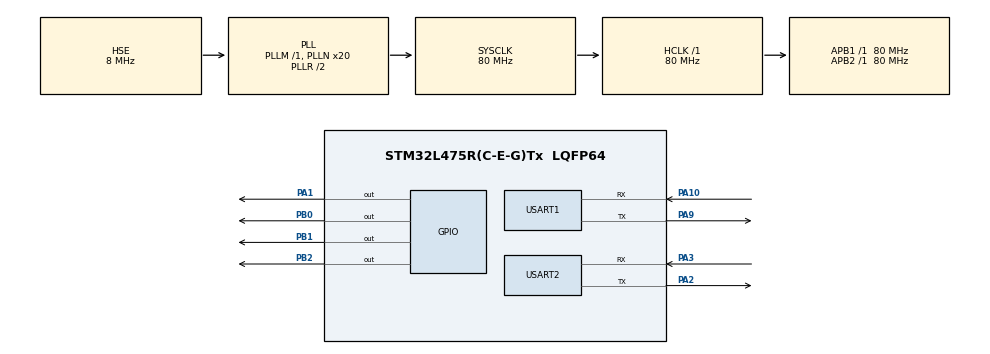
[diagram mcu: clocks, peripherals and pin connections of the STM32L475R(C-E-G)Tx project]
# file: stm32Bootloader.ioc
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Dma.Request0=USART2_RX
Dma.USART2_RX.0.Direction=DMA_PERIPH_TO_MEMORY
Dma.USART2_RX.0.Instance=DMA1_Channel6
Dma.USART2_RX.0.MemDataAlignment=DMA_MDATAALIGN_BYTE
Dma.USART2_RX.0.MemInc=DMA_MINC_ENABLE
Dma.USART2_RX.0.Mode=DMA_CIRCULAR
Dma.USART2_RX.0.PeriphDataAlignment=DMA_PDATAALIGN_BYTE
Dma.USART2_RX.0.PeriphInc=DMA_PINC_DISABLE
Dma.USART2_RX.0.Priority=DMA_PRIORITY_LOW
Mcu.Family=STM32L4
Mcu.Name=STM32L475R(C-E-G)Tx
Mcu.Package=LQFP64
NVIC.DMA1_Channel6_IRQn=true\:0\:0\:true\:false\:true\:false\:true
NVIC.PriorityGroup=NVIC_PRIORITYGROUP_4
NVIC.TIM4_IRQn=true\:1\:0\:true\:false\:true\:true\:true
NVIC.USART2_IRQn=true\:2\:0\:true\:false\:true\:true\:true
PA1.GPIO_PuPd=GPIO_PULLUP
PA1.PinState=GPIO_PIN_SET
PA1.Signal=GPIO_Output
PA10.Mode=Asynchronous
PA10.Signal=USART1_RX
PA13\ (JTMS-SWDIO).Mode=Serial_Wire
PA13\ (JTMS-SWDIO).Signal=SYS_JTMS-SWDIO
PA14\ (JTCK-SWCLK).Mode=Serial_Wire
PA14\ (JTCK-SWCLK).Signal=SYS_JTCK-SWCLK
PA2.GPIO_PuPd=GPIO_PULLUP
PA2.Mode=Asynchronous
PA2.Signal=USART2_TX
PA3.GPIO_PuPd=GPIO_PULLUP
PA3.Mode=Asynchronous
PA3.Signal=USART2_RX
PA9.Mode=Asynchronous
PA9.Signal=USART1_TX
PB0.GPIO_PuPd=GPIO_PULLUP
PB0.PinState=GPIO_PIN_SET
PB0.Signal=GPIO_Output
PB1.GPIO_PuPd=GPIO_PULLUP
PB1.PinState=GPIO_PIN_SET
PB1.Signal=GPIO_Output
PB2.GPIO_ModeDefaultOutputPP=GPIO_MODE_OUTPUT_PP
PB2.GPIO_PuPd=GPIO_PULLUP
PB2.PinState=GPIO_PIN_SET
PB2.Signal=GPIO_Output
PH0-OSC_IN\ (PH0).Mode=HSE-External-Oscillator
PH0-OSC_IN\ (PH0).Signal=RCC_OSC_IN
PH1-OSC_OUT\ (PH1).Mode=HSE-External-Oscillator
PH1-OSC_OUT\ (PH1).Signal=RCC_OSC_OUT
ProjectManager.HeapSize=0x200
ProjectManager.StackSize=0x400
ProjectManager.TargetToolchain=STM32CubeIDE
RCC.ADCFreq_Value=32000000
RCC.AHBFreq_Value=80000000
RCC.APB1Freq_Value=80000000
RCC.APB1TimFreq_Value=80000000
RCC.APB2Freq_Value=80000000
RCC.APB2TimFreq_Value=80000000
RCC.CortexFreq_Value=80000000
RCC.HCLKFreq_Value=80000000
RCC.HSE_VALUE=8000000
RCC.HSI_VALUE=16000000
RCC.LSE_VALUE=32768
RCC.MSI_VALUE=4000000
RCC.PLLN=20
RCC.PLLSourceVirtual=RCC_PLLSOURCE_HSE
RCC.SYSCLKFreq_VALUE=80000000
RCC.SYSCLKSource=RCC_SYSCLKSOURCE_PLLCLK
RCC.USBFreq_Value=32000000
RCC.VCOOutputFreq_Value=160000000
TIM4.Period=10000-1
TIM4.Prescaler=8000-1
USART1.VirtualMode-Asynchronous=VM_ASYNC
USART2.VirtualMode-Asynchronous=VM_ASYNC
VP_TIM4_VS_ClockSourceINT.Mode=Internal
board=custom

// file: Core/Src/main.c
/* USER CODE BEGIN Header */
/**
 ******************************************************************************
 * @file           : main.c
 * @brief          : Main program body
 ******************************************************************************
 * @attention
 *
 * <h2><center>&copy; Copyright (c) 2020 STMicroelectronics.
 * All rights reserved.</center></h2>
 *
 * This software component is licensed by ST under BSD 3-Clause license,
 * the "License"; You may not use this file except in compliance with the
 * License. You may obtain a copy of the License at:
 *                        opensource.org/licenses/BSD-3-Clause
 *
 ******************************************************************************
 */
/* USER CODE END Header */
#include "main.h"

/* USER CODE BEGIN Includes */
#include "iap.h"
#include "string.h"
#include "stdio.h"
/* USER CODE END Includes */

/* USER CODE BEGIN PTD */
uint8_t recv_buf[UART2_BUF_MAX] = { 0 };
uint8_t uart1_buf;
int uart2RxLength = 0;
uint8_t boot_app = 0;
uint8_t boot_timer = 0;
uint8_t UPDATE_APP_flag = 0;
int packageLen = 0;
uint8_t updateData[65536] = { 0 };
uint8_t myTag[1024] = { 0 };
extern uint8_t update_Data;
/* USER CODE END PTD */

/* USER CODE BEGIN PM */
uint8_t mylog[50] = { 0 };
/* USER CODE END PM */

TIM_HandleTypeDef htim4;

UART_HandleTypeDef huart1;
UART_HandleTypeDef huart2;
DMA_HandleTypeDef hdma_usart2_rx;

void SystemClock_Config(void);
static void MX_GPIO_Init(void);
static void MX_DMA_Init(void);
static void MX_TIM4_Init(void);
static void MX_USART2_UART_Init(void);
static void MX_USART1_UART_Init(void);

/* USER CODE BEGIN 0 */

void updateCpy(unsigned char *dst, unsigned char *src, int startLen, int size) {
	int i;
	if (startLen + size > 65536)
		return;
	for (i = 0; i < size; i++) {
		dst[startLen + i] = src[i];
	}
}
#ifdef __GNUC__
#define PUTCHAR_PROTOTYPE int __io_putchar(int ch)
#else
#define PUTCHAR_PROTOTYPE int fputc(int ch, FILE *f)
#endif

PUTCHAR_PROTOTYPE {
	HAL_UART_Transmit(&huart2, (uint8_t*) &ch, 1, HAL_MAX_DELAY);
	return ch;
}
void System_SoftReset(void) {
	__set_FAULTMASK(1);
	NVIC_SystemReset();
}
/* USER CODE END 0 */

int main(void)
{
  /* USER CODE BEGIN 1 */
	uint32_t addr = 0;
	uint32_t status = 0;
  /* USER CODE END 1 */

  /* MCU Configuration--------------------------------------------------------*/

  /* Reset of all peripherals, Initializes the Flash interface and the Systick. */
  HAL_Init();

  /* Configure the system clock */
  SystemClock_Config();

  /* Initialize all configured peripherals */
  MX_GPIO_Init();
  MX_DMA_Init();
  MX_TIM4_Init();
  MX_USART2_UART_Init();
  MX_USART1_UART_Init();
  /* USER CODE BEGIN 2 */
	HAL_UART_Receive_DMA(&huart2, recv_buf, UART2_BUF_MAX);
	FLASH_If_Init();
	HAL_UART_Transmit(&huart2, "BOOTLOADER\r\n", sizeof("BOOTLOADER\r\n") - 1,
			1000);
	addr = *(__IO uint32_t*) APP_Flash_ADDR;
	if (addr == -1) {
		FLASH_If_Erase(APP_Flash_ADDR, APP_Flash_ADDR + 0x800);
		HAL_FLASH_Unlock();
		HAL_FLASH_Program(FLASH_TYPEPROGRAM_DOUBLEWORD, APP_Flash_ADDR,
				(uint64_t) APP1STARTADDR);
		HAL_FLASH_Lock();
	}
  /* USER CODE END 2 */

  /* Infinite loop */
  /* USER CODE BEGIN WHILE */
	while (1) {
		HAL_GPIO_WritePin(GPIOB, GPIO_PIN_0,
				!HAL_GPIO_ReadPin(GPIOB, GPIO_PIN_0));
		switch (UPDATE_APP_flag) {
		case 0:
			if (boot_app == 1) {
				addr = *(__IO uint32_t*) APP_Flash_ADDR;
				printf("JMP_APP \r\n");
				HAL_Delay(50);
				jump2APP(addr);
			}
			break;
		case 2:
			addr = *(__IO uint32_t*) APP_Flash_ADDR;
			if (addr == APP2STARTADDR) {
				status = FLASH_If_Erase(APP1STARTADDR, APP1STARTADDR + 0x20000);
				HAL_UART_Transmit(&huart2, "UPDATEING\r\n",
						sizeof("UPDATEING\r\n") - 1, 1000);
				HAL_Delay(50);
				status = FLASH_If_Write(APP1STARTADDR, APP1ENDADDR,
						(uint64_t*) updateData, packageLen);
			} else {
				status = FLASH_If_Erase(APP2STARTADDR, APP2STARTADDR + 0x20000);
				HAL_UART_Transmit(&huart2, "UPDATEING\r\n",
						sizeof("UPDATEING\r\n") - 1, 1000);
				HAL_Delay(50);
				status = FLASH_If_Write(APP2STARTADDR, APP2ENDADDR,
						(uint64_t*) updateData, packageLen);
			}
			UPDATE_APP_flag = 3;
			break;
		case 3:
			addr = *(__IO uint32_t*) APP_Flash_ADDR;
			if (addr == APP1STARTADDR) {
				FLASH_If_Erase(APP_Flash_ADDR, APP_Flash_ADDR + 0x800);
				HAL_FLASH_Unlock();
				HAL_FLASH_Program(FLASH_TYPEPROGRAM_DOUBLEWORD, APP_Flash_ADDR,
						(uint64_t) APP2STARTADDR);
				HAL_FLASH_Lock();
			} else {
				FLASH_If_Erase(APP_Flash_ADDR, APP_Flash_ADDR + 0x800);
				HAL_FLASH_Unlock();
				HAL_FLASH_Program(FLASH_TYPEPROGRAM_DOUBLEWORD, APP_Flash_ADDR,
						(uint64_t) APP1STARTADDR);
				HAL_FLASH_Lock();
			}
			HAL_UART_Transmit(&huart2, "UPDATE_FINISH\r\n",
					sizeof("UPDATE_FINISH\r\n") - 1, 1000);
			HAL_Delay(50);
			UPDATE_APP_flag = 0;
			break;
		case 4:
			printf("restart boot...\n");
			System_SoftReset();
			break;
		case 7:
			printf("wait command...\n");
			HAL_Delay(1000);
		default:
			break;
		}
		HAL_Delay(500);
    /* USER CODE END WHILE */

	}
}

void SystemClock_Config(void)
{
  RCC_OscInitTypeDef RCC_OscInitStruct = {0};
  RCC_ClkInitTypeDef RCC_ClkInitStruct = {0};
  RCC_PeriphCLKInitTypeDef PeriphClkInit = {0};

  /** Initializes the RCC Oscillators according to the specified parameters
  * in the RCC_OscInitTypeDef structure.
  */
  RCC_OscInitStruct.OscillatorType = RCC_OSCILLATORTYPE_HSE;
  RCC_OscInitStruct.HSEState = RCC_HSE_ON;
  RCC_OscInitStruct.PLL.PLLState = RCC_PLL_ON;
  RCC_OscInitStruct.PLL.PLLSource = RCC_PLLSOURCE_HSE;
  RCC_OscInitStruct.PLL.PLLM = 1;
  RCC_OscInitStruct.PLL.PLLN = 20;
  RCC_OscInitStruct.PLL.PLLP = RCC_PLLP_DIV7;
  RCC_OscInitStruct.PLL.PLLQ = RCC_PLLQ_DIV2;
  RCC_OscInitStruct.PLL.PLLR = RCC_PLLR_DIV2;
  if (HAL_RCC_OscConfig(&RCC_OscInitStruct) != HAL_OK)
  {
    Error_Handler();
  }
  /** Initializes the CPU, AHB and APB buses clocks
  */
  RCC_ClkInitStruct.ClockType = RCC_CLOCKTYPE_HCLK|RCC_CLOCKTYPE_SYSCLK
                              |RCC_CLOCKTYPE_PCLK1|RCC_CLOCKTYPE_PCLK2;
  RCC_ClkInitStruct.SYSCLKSource = RCC_SYSCLKSOURCE_PLLCLK;
  RCC_ClkInitStruct.AHBCLKDivider = RCC_SYSCLK_DIV1;
  RCC_ClkInitStruct.APB1CLKDivider = RCC_HCLK_DIV1;
  RCC_ClkInitStruct.APB2CLKDivider = RCC_HCLK_DIV1;

  if (HAL_RCC_ClockConfig(&RCC_ClkInitStruct, FLASH_LATENCY_4) != HAL_OK)
  {
    Error_Handler();
  }
  PeriphClkInit.PeriphClockSelection = RCC_PERIPHCLK_USART1|RCC_PERIPHCLK_USART2;
  PeriphClkInit.Usart1ClockSelection = RCC_USART1CLKSOURCE_PCLK2;
  PeriphClkInit.Usart2ClockSelection = RCC_USART2CLKSOURCE_PCLK1;
  if (HAL_RCCEx_PeriphCLKConfig(&PeriphClkInit) != HAL_OK)
  {
    Error_Handler();
  }
  /** Configure the main internal regulator output voltage
  */
  if (HAL_PWREx_ControlVoltageScaling(PWR_REGULATOR_VOLTAGE_SCALE1) != HAL_OK)
  {
    Error_Handler();
  }
}

static void MX_TIM4_Init(void)
{

  TIM_ClockConfigTypeDef sClockSourceConfig = {0};
  TIM_MasterConfigTypeDef sMasterConfig = {0};

  htim4.Instance = TIM4;
  htim4.Init.Prescaler = 8000-1;
  htim4.Init.CounterMode = TIM_COUNTERMODE_UP;
  htim4.Init.Period = 10000-1;
  htim4.Init.ClockDivision = TIM_CLOCKDIVISION_DIV1;
  htim4.Init.AutoReloadPreload = TIM_AUTORELOAD_PRELOAD_DISABLE;
  if (HAL_TIM_Base_Init(&htim4) != HAL_OK)
  {
    Error_Handler();
  }
  sClockSourceConfig.ClockSource = TIM_CLOCKSOURCE_INTERNAL;
  if (HAL_TIM_ConfigClockSource(&htim4, &sClockSourceConfig) != HAL_OK)
  {
    Error_Handler();
  }
  sMasterConfig.MasterOutputTrigger = TIM_TRGO_RESET;
  sMasterConfig.MasterSlaveMode = TIM_MASTERSLAVEMODE_DISABLE;
  if (HAL_TIMEx_MasterConfigSynchronization(&htim4, &sMasterConfig) != HAL_OK)
  {
    Error_Handler();
  }
  /* USER CODE BEGIN TIM4_Init 2 */
	HAL_TIM_Base_Start_IT(&htim4);
  /* USER CODE END TIM4_Init 2 */

}

static void MX_USART1_UART_Init(void)
{

  huart1.Instance = USART1;
  huart1.Init.BaudRate = 115200;
  huart1.Init.WordLength = UART_WORDLENGTH_8B;
  huart1.Init.StopBits = UART_STOPBITS_1;
  huart1.Init.Parity = UART_PARITY_NONE;
  huart1.Init.Mode = UART_MODE_TX_RX;
  huart1.Init.HwFlowCtl = UART_HWCONTROL_NONE;
  huart1.Init.OverSampling = UART_OVERSAMPLING_16;
  huart1.Init.OneBitSampling = UART_ONE_BIT_SAMPLE_DISABLE;
  huart1.AdvancedInit.AdvFeatureInit = UART_ADVFEATURE_NO_INIT;
  if (HAL_UART_Init(&huart1) != HAL_OK)
  {
    Error_Handler();
  }

}

static void MX_USART2_UART_Init(void)
{

  huart2.Instance = USART2;
  huart2.Init.BaudRate = 115200;
  huart2.Init.WordLength = UART_WORDLENGTH_8B;
  huart2.Init.StopBits = UART_STOPBITS_1;
  huart2.Init.Parity = UART_PARITY_NONE;
  huart2.Init.Mode = UART_MODE_TX_RX;
  huart2.Init.HwFlowCtl = UART_HWCONTROL_NONE;
  huart2.Init.OverSampling = UART_OVERSAMPLING_16;
  huart2.Init.OneBitSampling = UART_ONE_BIT_SAMPLE_DISABLE;
  huart2.AdvancedInit.AdvFeatureInit = UART_ADVFEATURE_NO_INIT;
  if (HAL_UART_Init(&huart2) != HAL_OK)
  {
    Error_Handler();
  }
  /* USER CODE BEGIN USART2_Init 2 */
	__HAL_UART_ENABLE_IT(&huart2, UART_IT_IDLE);
  /* USER CODE END USART2_Init 2 */

}

static void MX_DMA_Init(void)
{

  /* DMA controller clock enable */
  __HAL_RCC_DMA1_CLK_ENABLE();

  /* DMA interrupt init */
  /* DMA1_Channel6_IRQn interrupt configuration */
  HAL_NVIC_SetPriority(DMA1_Channel6_IRQn, 0, 0);
  HAL_NVIC_EnableIRQ(DMA1_Channel6_IRQn);

}

static void MX_GPIO_Init(void)
{
  GPIO_InitTypeDef GPIO_InitStruct = {0};

  /* GPIO Ports Clock Enable */
  __HAL_RCC_GPIOH_CLK_ENABLE();
  __HAL_RCC_GPIOA_CLK_ENABLE();
  __HAL_RCC_GPIOB_CLK_ENABLE();

  /*Configure GPIO pin Output Level */
  HAL_GPIO_WritePin(GPIOA, GPIO_PIN_1, GPIO_PIN_SET);

  /*Configure GPIO pin Output Level */
  HAL_GPIO_WritePin(GPIOB, GPIO_PIN_0|GPIO_PIN_1|GPIO_PIN_2, GPIO_PIN_SET);

  /*Configure GPIO pin : PA1 */
  GPIO_InitStruct.Pin = GPIO_PIN_1;
  GPIO_InitStruct.Mode = GPIO_MODE_OUTPUT_PP;
  GPIO_InitStruct.Pull = GPIO_PULLUP;
  GPIO_InitStruct.Speed = GPIO_SPEED_FREQ_LOW;
  HAL_GPIO_Init(GPIOA, &GPIO_InitStruct);

  /*Configure GPIO pins : PB0 PB1 PB2 */
  GPIO_InitStruct.Pin = GPIO_PIN_0|GPIO_PIN_1|GPIO_PIN_2;
  GPIO_InitStruct.Mode = GPIO_MODE_OUTPUT_PP;
  GPIO_InitStruct.Pull = GPIO_PULLUP;
  GPIO_InitStruct.Speed = GPIO_SPEED_FREQ_LOW;
  HAL_GPIO_Init(GPIOB, &GPIO_InitStruct);

}

void Error_Handler(void)
{
}

/************************ (C) COPYRIGHT STMicroelectronics *****END OF FILE****/
